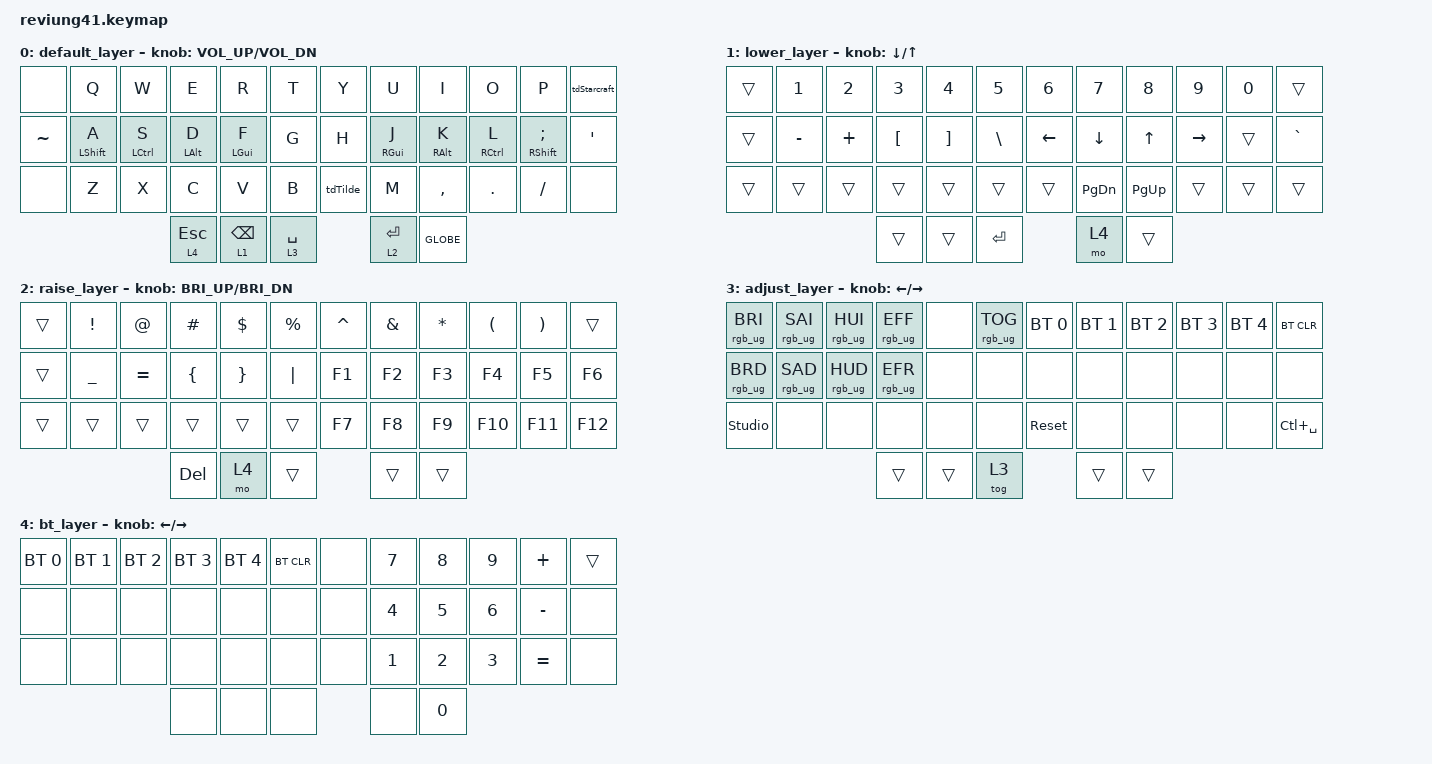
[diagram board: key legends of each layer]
/*
 * Copyright (c) 2020 The ZMK Contributors
 *
 * SPDX-License-Identifier: MIT
 */

#define HOST_OS 2  // set to 2 for macOS/Windows-Alt-Codes, default is 0 (Windows)

#include "zmk-helpers/helper.h"
#include <behaviors.dtsi>
#include <dt-bindings/zmk/bt.h>
#include <dt-bindings/zmk/keys.h>
#include <dt-bindings/zmk/rgb.h>

ZMK_UNICODE_PAIR(n_tilde,   N0, N0, F, N1,   N0, N0, D, N1)
ZMK_UNICODE_SINGLE(euro_sign, N2, N0, A, C)

&lt { quick_tap_ms = <200>; };

&mt { tapping-term-ms = <400>; };

/ {
    macros {
        cut: zcut {
            compatible = "zmk,behavior-macro";
            #binding-cells = <0>;
            bindings =
                <&macro_press>,
                <&kp LCMD>,
                <&macro_tap>,
                <&kp X>,
                <&macro_release>,
                <&kp LCMD>;
        };

        copy: zcopy {
            compatible = "zmk,behavior-macro";
            #binding-cells = <0>;
            bindings =
                <&macro_press>,
                <&kp LCMD>,
                <&macro_tap>,
                <&kp C>,
                <&macro_release>,
                <&kp LCMD>;
        };

        paste: zpaste {
            compatible = "zmk,behavior-macro";
            #binding-cells = <0>;
            bindings =
                <&macro_press>,
                <&kp LCMD>,
                <&macro_tap>,
                <&kp V>,
                <&macro_release>,
                <&kp LCMD>;
        };

        CreateCtrlGroup1: CreateCtrlGroup1 {
            compatible = "zmk,behavior-macro";
            #binding-cells = <0>;
            bindings =
                <&macro_press>,
                <&kp LALT>,
                <&macro_tap>,
                <&kp N1>,
                <&macro_release>,
                <&kp LALT>;
        };

        CreateCtrlGroup2: CreateCtrlGroup2 {
            compatible = "zmk,behavior-macro";
            #binding-cells = <0>;
            bindings =
                <&macro_press>,
                <&kp LALT>,
                <&macro_tap>,
                <&kp N2>,
                <&macro_release>,
                <&kp LALT>;
        };

        CreateCtrlGroup3: CreateCtrlGroup3 {
            compatible = "zmk,behavior-macro";
            #binding-cells = <0>;
            bindings =
                <&macro_press>,
                <&kp LALT>,
                <&macro_tap>,
                <&kp N3>,
                <&macro_release>,
                <&kp LALT>;
        };

        CreateCtrlGroup4: CreateCtrlGroup4 {
            compatible = "zmk,behavior-macro";
            #binding-cells = <0>;
            bindings =
                <&macro_press>,
                <&kp LALT>,
                <&macro_tap>,
                <&kp N4>,
                <&macro_release>,
                <&kp LALT>;
        };

        CreateCtrlGroup5: CreateCtrlGroup5 {
            compatible = "zmk,behavior-macro";
            #binding-cells = <0>;
            bindings =
                <&macro_press>,
                <&kp LALT>,
                <&macro_tap>,
                <&kp N5>,
                <&macro_release>,
                <&kp LALT>;
        };

        CreateLocation1: CreateLocation1 {
            compatible = "zmk,behavior-macro";
            #binding-cells = <0>;
            bindings =
                <&macro_press>,
                <&kp LCTRL>,
                <&macro_tap>,
                <&kp F5>,
                <&macro_release>,
                <&kp LCTRL>;
        };

        CreateLocation2: CreateLocation2 {
            compatible = "zmk,behavior-macro";
            #binding-cells = <0>;
            bindings =
                <&macro_press>,
                <&kp LCTRL>,
                <&macro_tap>,
                <&kp F6>,
                <&macro_release>,
                <&kp LCTRL>;
        };

        CreateLocation3: CreateLocation3 {
            compatible = "zmk,behavior-macro";
            #binding-cells = <0>;
            bindings =
                <&macro_press>,
                <&kp LCTRL>,
                <&macro_tap>,
                <&kp F7>,
                <&macro_release>,
                <&kp LCTRL>;
        };

        CreateLocation4: CreateLocation4 {
            compatible = "zmk,behavior-macro";
            #binding-cells = <0>;
            bindings =
                <&macro_press>,
                <&kp LCTRL>,
                <&macro_tap>,
                <&kp F8>,
                <&macro_release>,
                <&kp LCTRL>;
        };
    };

    behaviors {
        hm: homerow_mods {
            compatible = "zmk,behavior-hold-tap";
            #binding-cells = <2>;
            tapping-term-ms = <200>;
            quick-tap-ms = <175>;                // repeat on tap-into-hold
            flavor = "tap-preferred";
            bindings = <&kp>, <&kp>;
        };

        bhm: balanced_homerow_mods {
            compatible = "zmk,behavior-hold-tap";
            #binding-cells = <2>;
            tapping-term-ms = <200>;    // <---[[moderate duration]]
            quick-tap-ms = <0>;
            flavor = "balanced";
            bindings = <&kp>, <&kp>;
        };

        tdTabCaps: tap_dance_2 {
            compatible = "zmk,behavior-tap-dance";
            #binding-cells = <0>;
            tapping-term-ms = <200>;
            bindings = <&kp TAB>, <&kp CAPS>;
        };

        tdTilde: tap_dance_tilde {
            compatible = "zmk,behavior-tap-dance";
            #binding-cells = <0>;
            tapping-term-ms = <150>;
            bindings = <&kp N>, <&n_tilde>;
        };

        tdEuro: tap_dance_euro {
            compatible = "zmk,behavior-tap-dance";
            #binding-cells = <0>;
            tapping-term-ms = <200>;
            bindings = <&kp E>, <&euro_sign>;
        };

        //Starcraf tapdance

        tdStarcraft: tap_dance_7 {
            compatible = "zmk,behavior-tap-dance";
            #binding-cells = <0>;
            tapping-term-ms = <200>;
            bindings = <&kp K_MUTE>, <&tog 5>;
        };

        tdCSCrt1: tdCreateSelectCrt1 {
            compatible = "zmk,behavior-tap-dance";
            #binding-cells = <0>;
            tapping-term-ms = <200>;
            bindings = <&kp N1>, <&CreateCtrlGroup1>;
        };

        tdCSCrt2: tdCreateSelectCrt2 {
            compatible = "zmk,behavior-tap-dance";
            #binding-cells = <0>;
            tapping-term-ms = <200>;
            bindings = <&kp N2>, <&CreateCtrlGroup2>;
        };

        tdCSCrt3: tdCreateSelectCrt3 {
            compatible = "zmk,behavior-tap-dance";
            #binding-cells = <0>;
            tapping-term-ms = <200>;
            bindings = <&kp N3>, <&CreateCtrlGroup3>;
        };

        tdCSCrt4: tdCreateSelectCrt4 {
            compatible = "zmk,behavior-tap-dance";
            #binding-cells = <0>;
            tapping-term-ms = <200>;
            bindings = <&kp N4>, <&CreateCtrlGroup4>;
        };

        tdCSCrt5: tdCreateSelectCrt5 {
            compatible = "zmk,behavior-tap-dance";
            #binding-cells = <0>;
            tapping-term-ms = <200>;
            bindings = <&kp N5>, <&CreateCtrlGroup5>;
        };

        tdCSLoc1: tdCSLoc1 {
            compatible = "zmk,behavior-tap-dance";
            #binding-cells = <0>;
            tapping-term-ms = <200>;
            bindings = <&kp F5>, <&CreateLocation1>;
        };

        tdCSLoc2: tdCSLoc2 {
            compatible = "zmk,behavior-tap-dance";
            #binding-cells = <0>;
            tapping-term-ms = <200>;
            bindings = <&kp F6>, <&CreateLocation2>;
        };

        tdCSLoc3: tdCSLoc3 {
            compatible = "zmk,behavior-tap-dance";
            #binding-cells = <0>;
            tapping-term-ms = <200>;
            bindings = <&kp F7>, <&CreateLocation3>;
        };

        tdCSLoc4: tdCSLoc4 {
            compatible = "zmk,behavior-tap-dance";
            #binding-cells = <0>;
            tapping-term-ms = <200>;
            bindings = <&kp F8>, <&CreateLocation4>;
        };
    };

    combos {
        compatible = "zmk,combos";

        comboTab {
            bindings = <&kp TAB>;
            key-positions = <13 14>;
        };

        comboCaps {
            bindings = <&kp CAPSLOCK>;
            key-positions = <12 13>;
        };
    };

    keymap {
        compatible = "zmk,keymap";

        default_layer {
            // --------------------------------------------------------------------------------------------------------
            // | ESC      |  Q  |  W  |  E  |  R  |  T  |            |  Y  |  U   |  I  |  O  |  P  |   BKSP           |
            // | TAB/Caps |  A  |  S  |  D  |  F  |  G  |            |  H  |  J   |  K  |  L  |  ;  |    '             |
            // | LGUI     |  Z  |  X  |  C  |  V  |  B  |            |  N  |  M   |  ,  |  .  |  /  | tdStarcraft(RET) |
            //                           DEL | LWR/BSPC | SPC/layer3 | RSE/RET  | GLOBE |

            bindings = <
&none      &kp Q             &kp W                   &kp E           &kp R           &kp T               &kp Y     &kp U       &kp I       &kp O                &kp P            &tdStarcraft
&kp TILDE  &hm LSHIFT A  &hm LEFT_CONTROL S  &hm LALT D  &hm LGUI F  &kp G               &kp H     &hm RGUI J  &hm RALT K  &hm RIGHT_CONTROL L  &hm RSHIFT SEMI  &kp SQT
&none      &kp Z             &kp X                   &kp C           &kp V           &kp B               &tdTilde  &kp M       &kp COMMA   &kp DOT              &kp FSLH         &none
                                                     &lt 4 ESC       &lt 1 BSPC             &lt 3 SPACE            &lt 2 RET   &kp GLOBE
            >;

            sensor-bindings = <&inc_dec_kp C_VOL_UP C_VOL_DN>;
        };

        lower_layer {
            // ----------------------------------------------------------------------------------
            // |    |  1  |  2  |  3  |  4  |  5  |      |  6  |  7  |  8  |  9  |  0  |    DEL    |
            // |CAPS|  -  |  +  |  [  |  ]  |  \  |      | ~  | LFT |  DWN | UP |  RGT  |     `    |
            // |  SHFT | CTRL| ALT | GUI | ||  "  |      | HOME| END | PGUP| PGDN| PRSC| SHFT(RET)
            //                         |    |     |  RET | BTLAYER |   |

            bindings = <
&trans  &kp N1     &kp N2    &kp N3    &kp N4    &kp N5             &kp N6    &kp N7         &kp N8       &kp N9     &kp N0  &trans
&trans  &kp MINUS  &kp PLUS  &kp LBKT  &kp RBKT  &kp BSLH           &kp LEFT  &kp DOWN       &kp UP       &kp RIGHT  &trans  &kp GRAVE
&trans  &trans     &trans    &trans    &trans    &trans             &trans    &kp PAGE_DOWN  &kp PAGE_UP  &trans     &trans  &trans
                             &trans    &trans              &kp RET            &mo 4          &trans
            >;

            sensor-bindings = <&inc_dec_kp DOWN_ARROW UP_ARROW>;
        };

        raise_layer {
            // ----------------------------------------------------------------------------
            // |    |  !  |  @  |  #  |  $  |  %  |      |  ^  |  &  |  *  |  (  |  )  | DEL |
            // |    |  _  |  =  |  {  |  }  |  |  |      | F1  | F2  | F3  | F4  | F5  | F6  |
            // |    |SHFT| CTRL | ALT | GUI|   "  |      | F7  | F8  | F9  | F10 | F11 | F12 |
            //                       |     |      | BKSP |    |     |

            bindings = <
&trans  &kp EXCL   &kp AT     &kp HASH  &kp DLLR  &kp PRCNT          &kp CARET  &kp AMPS  &kp ASTERISK  &kp LPAR  &kp RPAR  &trans
&trans  &kp UNDER  &kp EQUAL  &kp LBRC  &kp RBRC  &kp PIPE           &kp F1     &kp F2    &kp F3        &kp F4    &kp F5    &kp F6
&trans  &trans     &trans     &trans    &trans    &trans             &kp F7     &kp F8    &kp F9        &kp F10   &kp F11   &kp F12
                              &kp DEL   &mo 4                &trans             &trans    &trans
            >;

            sensor-bindings = <&inc_dec_kp C_BRI_UP C_BRI_DN>;
        };

        adjust_layer {
            // -----------------------------------------------------------------------------------------
            // | RGB BRI+ | RGB SAT+ | RGB HUE+ | RGB ANI+ |    | RGB TOG |   |  BT1  | BT2 | BT3 | BT4 | BT5 | BT CLR |
            // | RGB BRI- | RGB SAT- | RGB HUE- | RGB ANI- |    |         |   |       |     |     |     |     |        |
            // |          |          |          |          |    |         |   | RESET |     |     |     |     |        |
            //                                              |     |     |     |     |     |

            bindings = <
&rgb_ug RGB_BRI  &rgb_ug RGB_SAI  &rgb_ug RGB_HUI  &rgb_ug RGB_EFF  &none   &rgb_ug RGB_TOG          &bt BT_SEL 0  &bt BT_SEL 1  &bt BT_SEL 2  &bt BT_SEL 3  &bt BT_SEL 4  &bt BT_CLR
&rgb_ug RGB_BRD  &rgb_ug RGB_SAD  &rgb_ug RGB_HUD  &rgb_ug RGB_EFR  &none   &none                    &none         &none         &none         &none         &none         &none
&studio_unlock   &none            &none            &none            &none   &none                    &sys_reset    &none         &none         &none         &none         &kp LC(SPACE)
                                                   &trans           &trans                   &tog 3                &trans        &trans
            >;

            sensor-bindings = <&inc_dec_kp LEFT RIGHT>;
        };

        bt_layer {
            // --------------------------------------------------------------------------------------------
            // |  BT1  | BT2    | BT3 | BT4 | BT5 | BT CLR |      |      |        |     |     |     |     |
            // |       |        |     |     |     |        |      |      |        |     |     |     |     |
            // |       |        |     |     |     |        |      |      |        |     |     |     |     |
            //                              |     |        |      |      |        |

            bindings = <
&bt BT_SEL 0  &bt BT_SEL 1  &bt BT_SEL 2  &bt BT_SEL 3  &bt BT_SEL 4  &bt BT_CLR         &none  &kp N7  &kp N8  &kp N9  &kp PLUS   &trans
&none         &none         &none         &none         &none         &none              &none  &kp N4  &kp N5  &kp N6  &kp MINUS  &none
&none         &none         &none         &none         &none         &none              &none  &kp N1  &kp N2  &kp N3  &kp EQUAL  &none
                                          &none         &none                     &none         &none   &kp N0
            >;

            sensor-bindings = <&inc_dec_kp LEFT RIGHT>;
        };
    };
};
